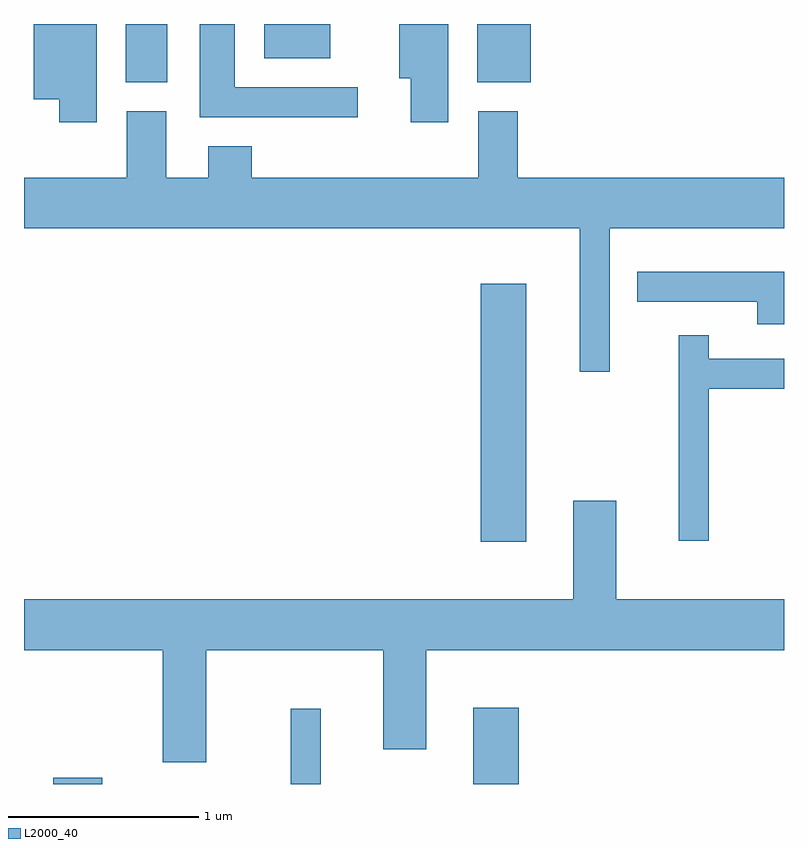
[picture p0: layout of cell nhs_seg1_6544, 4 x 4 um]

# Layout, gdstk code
import gdstk
lib = gdstk.Library(unit=1e-6, precision=1e-09)
def R(c, l, rs):  # rectangles x0, y0, x1, y1
    for r in rs: c.add(gdstk.rectangle(r[:2], r[2:], *l))
def P(c, l, *ps):  # polygons
    for p in ps: c.add(gdstk.Polygon(p, *l))
L2000_40 = (2000, 40)

nhs_seg1_6544 = lib.new_cell('nhs_seg1_6544')
R(nhs_seg1_6544, L2000_40, [(381.766,947.712,382.024,947.744), (383.016,947.712,383.174,948.108), (383.976,947.712,384.214,948.114), (384.016,948.986,384.254,950.344), (382.146,951.406,382.364,951.712), (383.996,951.406,384.279,951.712), (382.876,951.531,383.224,951.712)])
P(nhs_seg1_6544, L2000_40, [(383.844,951.712),(383.586,951.712),(383.586,951.426),(383.646,951.426),(383.646,951.196),(383.844,951.196)],
  [(381.994,951.712),(381.661,951.712),(381.661,951.316),(381.796,951.316),(381.796,951.196),(381.994,951.196)],
  [(383.368,951.379),(382.719,951.379),(382.719,951.712),(382.536,951.712),(382.536,951.221),(383.368,951.221)],
  [(384.694,950.636),(385.611,950.636),(385.611,950.904),(384.209,950.904),(384.209,951.254),(384.001,951.254),(384.001,950.904),(382.809,950.904),(382.809,951.069),(382.581,951.069),(382.581,950.904),(382.359,950.904),(382.359,951.254),(382.151,951.254),(382.151,950.904),(381.611,950.904),(381.611,950.636),(384.536,950.636),(384.536,949.883),(384.694,949.883)],
  [(385.611,950.409),(384.838,950.409),(384.838,950.251),(385.471,950.251),(385.471,950.131),(385.611,950.131)],
  [(385.214,949.791),(385.611,949.791),(385.611,949.949),(385.214,949.949),(385.214,950.073),(385.056,950.073),(385.056,948.993),(385.214,948.993)],
  [(381.611,948.416),(382.341,948.416),(382.341,947.826),(382.569,947.826),(382.569,948.416),(383.501,948.416),(383.501,947.896),(383.729,947.896),(383.729,948.416),(385.611,948.416),(385.611,948.684),(384.729,948.684),(384.729,949.204),(384.501,949.204),(384.501,948.684),(381.611,948.684)])

lib.write_gds('nhs_seg1_6544.gds')
